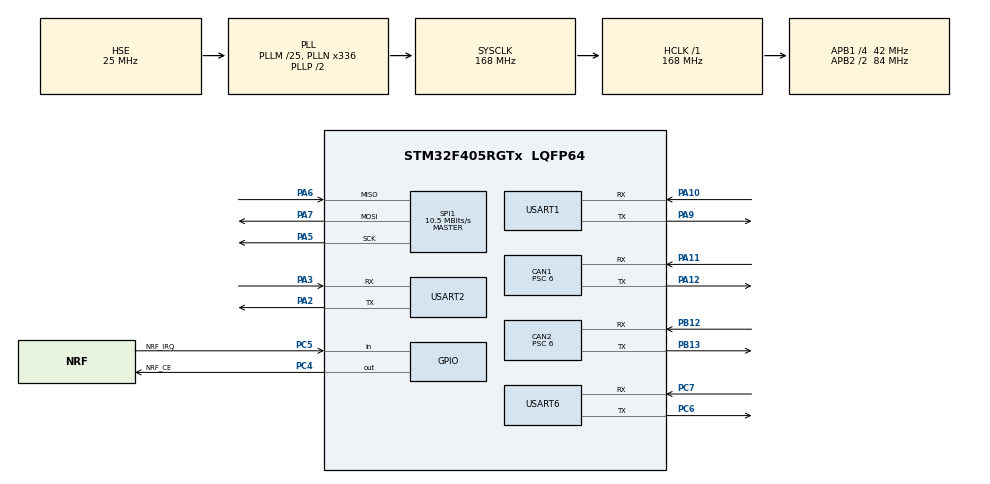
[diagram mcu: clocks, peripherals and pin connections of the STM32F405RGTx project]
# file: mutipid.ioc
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CAN1.ABOM=ENABLE
CAN1.AWUM=ENABLE
CAN1.BS1=CAN_BS1_4TQ
CAN1.BS2=CAN_BS2_2TQ
CAN1.CalculateBaudRate=1000000
CAN1.CalculateTimeBit=1000
CAN1.CalculateTimeQuantum=142.85714285714286
CAN1.Prescaler=6
CAN2.ABOM=ENABLE
CAN2.AWUM=ENABLE
CAN2.BS1=CAN_BS1_4TQ
CAN2.BS2=CAN_BS2_2TQ
CAN2.CalculateBaudRate=1000000
CAN2.CalculateTimeBit=1000
CAN2.CalculateTimeQuantum=142.85714285714286
CAN2.Prescaler=6
FREERTOS.Tasks01=motorTask,40,128,StartmotorTask,Default,NULL,Dynamic,NULL,NULL;PID_calulate,48,256,StartPID_calulate,Default,NULL,Dynamic,NULL,NULL;filter_printf,8,256,Startprintf,Default,NULL,Dynamic,NULL,NULL
Mcu.Family=STM32F4
Mcu.Name=STM32F405RGTx
Mcu.Package=LQFP64
NVIC.CAN1_RX0_IRQn=true\:5\:0\:false\:false\:true\:true\:true\:true\:true
NVIC.CAN1_SCE_IRQn=true\:5\:0\:false\:false\:true\:true\:true\:true\:true
NVIC.CAN2_RX1_IRQn=true\:5\:0\:false\:false\:true\:true\:true\:true\:true
NVIC.CAN2_SCE_IRQn=true\:5\:0\:false\:false\:true\:true\:true\:true\:true
NVIC.PriorityGroup=NVIC_PRIORITYGROUP_4
NVIC.TIM2_IRQn=true\:5\:0\:false\:false\:true\:true\:true\:true\:true
NVIC.TIM6_DAC_IRQn=true\:5\:0\:false\:false\:true\:true\:true\:true\:true
NVIC.TIM7_IRQn=true\:15\:0\:false\:false\:true\:false\:false\:true\:true
NVIC.TimeBase=TIM7_IRQn
NVIC.TimeBaseIP=TIM7
NVIC.USART1_IRQn=true\:5\:0\:false\:false\:true\:true\:true\:true\:true
NVIC.USART2_IRQn=true\:5\:0\:false\:false\:true\:true\:true\:true\:true
NVIC.USART6_IRQn=true\:5\:0\:false\:false\:true\:true\:true\:true\:true
PA10.Mode=Asynchronous
PA10.Signal=USART1_RX
PA11.GPIO_PuPd=GPIO_PULLUP
PA11.Mode=CAN_Activate
PA11.Signal=CAN1_RX
PA12.GPIO_PuPd=GPIO_PULLUP
PA12.Mode=CAN_Activate
PA12.Signal=CAN1_TX
PA13.Mode=Serial_Wire
PA13.Signal=SYS_JTMS-SWDIO
PA14.Mode=Serial_Wire
PA14.Signal=SYS_JTCK-SWCLK
PA2.Mode=Asynchronous
PA2.Signal=USART2_TX
PA3.Mode=Asynchronous
PA3.Signal=USART2_RX
PA4.GPIO_Label=NRF_CS
PA4.Signal=SPI1_NSS
PA5.Mode=Full_Duplex_Master
PA5.Signal=SPI1_SCK
PA6.Mode=Full_Duplex_Master
PA6.Signal=SPI1_MISO
PA7.Mode=Full_Duplex_Master
PA7.Signal=SPI1_MOSI
PA9.Mode=Asynchronous
PA9.Signal=USART1_TX
PB12.GPIO_PuPd=GPIO_PULLUP
PB12.Mode=CAN_Activate
PB12.Signal=CAN2_RX
PB13.GPIO_PuPd=GPIO_PULLUP
PB13.Mode=CAN_Activate
PB13.Signal=CAN2_TX
PC4.GPIO_Label=NRF_CE
PC4.GPIO_ModeDefaultOutputPP=GPIO_MODE_OUTPUT_PP
PC4.GPIO_PuPd=GPIO_PULLUP
PC4.GPIO_Speed=GPIO_SPEED_FREQ_HIGH
PC4.Signal=GPIO_Output
PC5.GPIO_Label=NRF_IRQ
PC5.Signal=GPIO_Input
PC6.Mode=Asynchronous
PC6.Signal=USART6_TX
PC7.Mode=Asynchronous
PC7.Signal=USART6_RX
PH0-OSC_IN.Mode=HSE-External-Oscillator
PH0-OSC_IN.Signal=RCC_OSC_IN
PH1-OSC_OUT.Mode=HSE-External-Oscillator
PH1-OSC_OUT.Signal=RCC_OSC_OUT
ProjectManager.HeapSize=0x200
ProjectManager.StackSize=0x400
ProjectManager.TargetToolchain=MDK-ARM V5.32
RCC.48MHZClocksFreq_Value=84000000
RCC.AHBFreq_Value=168000000
RCC.APB1CLKDivider=RCC_HCLK_DIV4
RCC.APB1Freq_Value=42000000
RCC.APB1TimFreq_Value=84000000
RCC.APB2CLKDivider=RCC_HCLK_DIV2
RCC.APB2Freq_Value=84000000
RCC.APB2TimFreq_Value=168000000
RCC.CortexFreq_Value=168000000
RCC.HCLKFreq_Value=168000000
RCC.HSE_VALUE=25000000
RCC.HSI_VALUE=16000000
RCC.LSE_VALUE=32768
RCC.PLLM=25
RCC.PLLN=336
RCC.PLLSourceVirtual=RCC_PLLSOURCE_HSE
RCC.SYSCLKFreq_VALUE=168000000
RCC.SYSCLKSource=RCC_SYSCLKSOURCE_PLLCLK
RCC.VCOOutputFreq_Value=336000000
SPI1.BaudRatePrescaler=SPI_BAUDRATEPRESCALER_8
SPI1.CalculateBaudRate=10.5 MBits/s
SPI1.Direction=SPI_DIRECTION_2LINES
SPI1.Mode=SPI_MODE_MASTER
SPI1.VirtualType=VM_MASTER
TIM2.Period=2000-1
TIM2.Prescaler=8400-1
TIM6.Period=100-1
TIM6.Prescaler=84-1
USART1.VirtualMode=VM_ASYNC
USART2.VirtualMode=VM_ASYNC
USART6.VirtualMode=VM_ASYNC
VP_FREERTOS_VS_CMSIS_V2.Mode=CMSIS_V2
VP_SYS_VS_tim7.Mode=TIM7
VP_TIM2_VS_ClockSourceINT.Mode=Internal
VP_TIM6_VS_ClockSourceINT.Mode=Enable_Timer
board=custom

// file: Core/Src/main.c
/* USER CODE BEGIN Header */
/**
  ******************************************************************************
  * @file           : main.c
  * @brief          : Main program body
  ******************************************************************************
  * @attention
  *
  * Copyright (c) 2023 STMicroelectronics.
  * All rights reserved.
  *
  * This software is licensed under terms that can be found in the LICENSE file
  * in the root directory of this software component.
  * If no LICENSE file comes with this software, it is provided AS-IS.
  *
  ******************************************************************************
  */
/* USER CODE END Header */
#include "main.h"
#include "cmsis_os.h"
#include "can.h"
#include "spi.h"
#include "tim.h"
#include "usart.h"
#include "gpio.h"

/* USER CODE BEGIN Includes */
#include "printf.h"
#include "PID_bsp.h"
#include "can_bsp.h"
#include "RM3508.h"
/* USER CODE END Includes */

/* USER CODE BEGIN PTD */
uint32_t identify;
uint8_t DataBuffer[8] = {0};
int32_t RM3508_Spd[8];
/* USER CODE END PTD */

void SystemClock_Config(void);
void MX_FREERTOS_Init(void);

int main(void)
{

  /* MCU Configuration--------------------------------------------------------*/

  /* Reset of all peripherals, Initializes the Flash interface and the Systick. */
  HAL_Init();

  /* Configure the system clock */
  SystemClock_Config();

  /* Initialize all configured peripherals */
  MX_GPIO_Init();
  MX_CAN1_Init();
  MX_CAN2_Init();
  MX_TIM6_Init();
  MX_TIM2_Init();
  MX_USART1_UART_Init();
  MX_USART6_UART_Init();
  MX_SPI1_Init();
  MX_USART2_UART_Init();
  /* USER CODE BEGIN 2 */
    CAN_Init(&hcan1);
    CAN_Init(&hcan2);

  /* USER CODE END 2 */

  /* Init scheduler */
  osKernelInitialize();  /* Call init function for freertos objects (in freertos.c) */
  MX_FREERTOS_Init();

  /* Start scheduler */
  osKernelStart();

  /* We should never get here as control is now taken by the scheduler */
  /* Infinite loop */
  while (1)
  {

  }
}

void SystemClock_Config(void)
{
  RCC_OscInitTypeDef RCC_OscInitStruct = {0};
  RCC_ClkInitTypeDef RCC_ClkInitStruct = {0};

  /** Configure the main internal regulator output voltage
  */
  __HAL_RCC_PWR_CLK_ENABLE();
  __HAL_PWR_VOLTAGESCALING_CONFIG(PWR_REGULATOR_VOLTAGE_SCALE1);

  /** Initializes the RCC Oscillators according to the specified parameters
  * in the RCC_OscInitTypeDef structure.
  */
  RCC_OscInitStruct.OscillatorType = RCC_OSCILLATORTYPE_HSE;
  RCC_OscInitStruct.HSEState = RCC_HSE_ON;
  RCC_OscInitStruct.PLL.PLLState = RCC_PLL_ON;
  RCC_OscInitStruct.PLL.PLLSource = RCC_PLLSOURCE_HSE;
  RCC_OscInitStruct.PLL.PLLM = 25;
  RCC_OscInitStruct.PLL.PLLN = 336;
  RCC_OscInitStruct.PLL.PLLP = RCC_PLLP_DIV2;
  RCC_OscInitStruct.PLL.PLLQ = 4;
  if (HAL_RCC_OscConfig(&RCC_OscInitStruct) != HAL_OK)
  {
    Error_Handler();
  }

  /** Initializes the CPU, AHB and APB buses clocks
  */
  RCC_ClkInitStruct.ClockType = RCC_CLOCKTYPE_HCLK|RCC_CLOCKTYPE_SYSCLK
                              |RCC_CLOCKTYPE_PCLK1|RCC_CLOCKTYPE_PCLK2;
  RCC_ClkInitStruct.SYSCLKSource = RCC_SYSCLKSOURCE_PLLCLK;
  RCC_ClkInitStruct.AHBCLKDivider = RCC_SYSCLK_DIV1;
  RCC_ClkInitStruct.APB1CLKDivider = RCC_HCLK_DIV4;
  RCC_ClkInitStruct.APB2CLKDivider = RCC_HCLK_DIV2;

  if (HAL_RCC_ClockConfig(&RCC_ClkInitStruct, FLASH_LATENCY_5) != HAL_OK)
  {
    Error_Handler();
  }
}

/* USER CODE BEGIN 4 */
void HAL_CAN_RxFifo0MsgPendingCallback(CAN_HandleTypeDef *hcan)
{
    CAN_RxHeaderTypeDef RxMessage;
    uint8_t RxData[8] = {0};
    identify = RxMessage.StdId;

    HAL_CAN_GetRxMessage(hcan, CAN_RX_FIFO0, &RxMessage, RxData);

    if(RxMessage.StdId == 0x201 || RxMessage.StdId == 0x202 || RxMessage.StdId == 0x203 || RxMessage.StdId == 0x204 || RxMessage.StdId == 0x205 || RxMessage.StdId == 0x206 || RxMessage.StdId == 0x207 || RxMessage.StdId == 0x208)
    {
        RM3508_Get_Feedback(RxMessage.StdId, RxData);
         RM3508_Spd[RxMessage.StdId-0x201]=RM3508_Get_Speed(RxMessage.StdId-0x200);
    }

}
void HAL_CAN_RxFifo1MsgPendingCallback(CAN_HandleTypeDef *hcan)
{
    CAN_RxHeaderTypeDef RxMessage;
    uint8_t RxData[8] = {0};
    identify = RxMessage.StdId;

    HAL_CAN_GetRxMessage(hcan, CAN_RX_FIFO1, &RxMessage, RxData);

   if(RxMessage.StdId == 0x201 || RxMessage.StdId == 0x202 || RxMessage.StdId == 0x203 || RxMessage.StdId == 0x204)
    {
        RM3508_Get_Feedback(RxMessage.StdId, RxData);
        RM3508_Spd[RxMessage.StdId-0x201]=RM3508_Get_Speed(RxMessage.StdId-0x200);
    }

}
/* USER CODE END 4 */

void HAL_TIM_PeriodElapsedCallback(TIM_HandleTypeDef *htim)
{
  if (htim->Instance == TIM7) {
    HAL_IncTick();
  }
}

void Error_Handler(void)
{
  __disable_irq();
  while (1)
  {
  }
}

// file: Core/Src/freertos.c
/* USER CODE BEGIN Header */
/**
  ******************************************************************************
  * File Name          : freertos.c
  * Description        : Code for freertos applications
  ******************************************************************************
  * @attention
  *
  * Copyright (c) 2023 STMicroelectronics.
  * All rights reserved.
  *
  * This software is licensed under terms that can be found in the LICENSE file
  * in the root directory of this software component.
  * If no LICENSE file comes with this software, it is provided AS-IS.
  *
  ******************************************************************************
  */
/* USER CODE END Header */

#include "FreeRTOS.h"
#include "task.h"
#include "main.h"
#include "cmsis_os.h"

/* USER CODE BEGIN Includes */
#include "printf.h"
#include "PID_bsp.h"
#include "can_bsp.h"
#include "RM3508.h"
#include "filter.h"
/* USER CODE END Includes */

/* USER CODE BEGIN PTD */
extern int32_t RM3508_Spd[8];
float filter_out[2];
float aim_pos=0;
PID fuzzy_result;

/* USER CODE END PTD */

/* Definitions for motorTask */
osThreadId_t motorTaskHandle;
const osThreadAttr_t motorTask_attributes = {
  .name = "motorTask",
  .stack_size = 128 * 4,
  .priority = (osPriority_t) osPriorityHigh,
};
/* Definitions for PID_calulate */
osThreadId_t PID_calulateHandle;
const osThreadAttr_t PID_calulate_attributes = {
  .name = "PID_calulate",
  .stack_size = 512 * 4,
  .priority = (osPriority_t) osPriorityRealtime,
};
/* Definitions for filter_printf */
osThreadId_t filter_printfHandle;
const osThreadAttr_t filter_printf_attributes = {
  .name = "filter_printf",
  .stack_size = 256 * 4,
  .priority = (osPriority_t) osPriorityLow,
};

void StartmotorTask(void *argument);
void StartPID_calulate(void *argument);
void Startprintf(void *argument);

void MX_FREERTOS_Init(void); /* (MISRA C 2004 rule 8.1) */

void MX_FREERTOS_Init(void) {

  /* Create the thread(s) */
  /* creation of motorTask */
  motorTaskHandle = osThreadNew(StartmotorTask, NULL, &motorTask_attributes);

  /* creation of PID_calulate */
  PID_calulateHandle = osThreadNew(StartPID_calulate, NULL, &PID_calulate_attributes);

  /* creation of filter_printf */
  filter_printfHandle = osThreadNew(Startprintf, NULL, &filter_printf_attributes);

}

void StartmotorTask(void *argument)
{
  /* USER CODE BEGIN StartmotorTask */
  /* Infinite loop */
  for(;;)
  {
   RM3508_Set_I(fuzzy_result.PID_Out, 1);
   osDelay(10);
  }
  /* USER CODE END StartmotorTask */
}

void StartPID_calulate(void *argument)
{
  /* USER CODE BEGIN StartPID_calulate */

  /* Infinite loop */
  for(;;)
  {
  pidcalulate(&pos_pid,RM3508_Pos[0],aim_pos*8192.f*19.f/360);
  fuzzy_result=fuzzy_judge(fuzzy_spd_pid,pos_pid);
  pidcalulate(&fuzzy_result,RM3508_Spd[0],pos_pid.PID_Out);
    osDelay(10);
  }
  /* USER CODE END StartPID_calulate */
}

void Startprintf(void *argument)
{
  /* USER CODE BEGIN Startprintf */
  /* Infinite loop */
  for(;;)
  {
    filter_out[0]=filter0FnManual((float)RM3508_Pos[0]/8192.f/19.f*360);
    filter_out[1]=filter1FnManual((float)pos_pid.PID_Out/100.f);

    printf("%f,%f,%f,%d\n",filter_out[0], filter_out[1],aim_pos,state_of_result);
    osDelay(1);
  }
  /* USER CODE END Startprintf */
}
